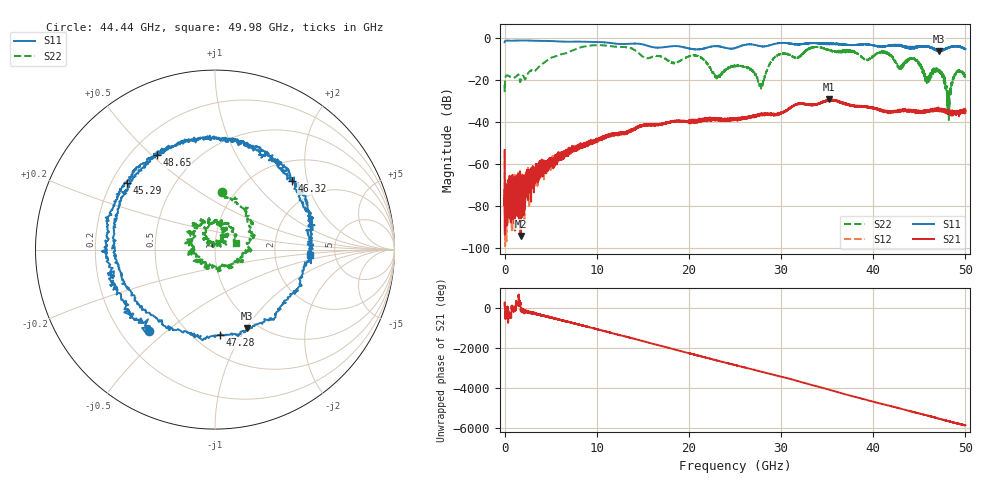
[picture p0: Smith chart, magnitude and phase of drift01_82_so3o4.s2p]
!Created with skrf (http://scikit-rf.org).
# Hz S RI R 50.0
!freq ReS11 ImS11 ReS21 ImS21 ReS12 ImS12 ReS22 ImS22
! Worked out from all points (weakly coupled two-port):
!   10001 points, 300 kHz to 50 GHz, reference 50 ohm
!   highest |S21| = -29.47 dB at 35.18 GHz (marker M1); lowest = -94.5 dB at 1.735 GHz (marker M2)
!   lowest |S11| = -6.5 dB at 47.15 GHz (marker M3), VSWR 2.79, Z = 44.8 - j50.5 ohm
!   |S11| at or under -10 dB: nowhere
!   |S22| runs from -39.2 to -3.6 dB; largest |S21 - S12| = 0.0037
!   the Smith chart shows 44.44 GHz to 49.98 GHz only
!   S11 on the Smith chart (normalised r, x): 44.44 GHz: 0.32, -0.44; 45.29 GHz: 0.26, +0.32; 46.32 GHz: 1.41, +1.62; 47.28 GHz: 0.66, -0.81; 48.65 GHz: 0.30, +0.52; 49.98 GHz: 3.21, -0.25
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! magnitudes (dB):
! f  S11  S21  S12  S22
! 300 kHz  -2.2  -53.5  -54.1  -22.4
! 265.3 MHz  -1.4  -81.0  -81.0  -18.0
! 1.735 GHz  -1.4  -94.5  -73.1  -20.7
! 8.335 GHz  -1.9  -52.3  -51.8  -4.5
! 16.67 GHz  -4.8  -41.7  -41.3  -8.6
! 20.99 GHz  -5.6  -40.1  -39.0  -8.8
! 23.1 GHz  -4.1  -38.9  -39.1  -18.7
! 25 GHz  -5.0  -38.4  -39.1  -13.5
! 27.86 GHz  -4.1  -36.8  -36.7  -23.1
! 29.44 GHz  -2.9  -36.8  -36.6  -9.0
! 33.34 GHz  -2.6  -32.0  -31.9  -4.8
! 35.18 GHz  -2.9  -29.5  -29.8  -5.9
! 41.67 GHz  -3.8  -35.2  -35.4  -8.0
! 44.44 GHz  -4.6  -34.8  -35.2  -9.9
! 45.29 GHz  -4.2  -35.9  -35.1  -14.6
! 46.32 GHz  -4.8  -34.2  -34.8  -17.0
! 47.15 GHz  -6.5  -34.1  -34.7  -16.4
! 47.28 GHz  -6.5  -34.2  -33.9  -16.3
! 48.19 GHz  -4.8  -35.7  -35.1  -29.7
! 48.65 GHz  -4.2  -35.7  -35.5  -19.6
! 49.98 GHz  -5.6  -35.1  -34.9  -18.0
! 50 GHz  -5.4  -35.8  -34.6  -17.8
